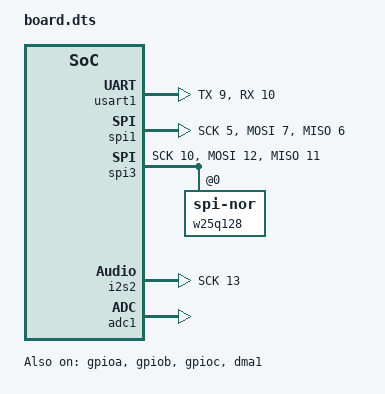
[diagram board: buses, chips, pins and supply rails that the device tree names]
/* STM32F411RE board — full device tree */

/ {
    clocks {
        hsi: hsi {
            compatible = "fixed-clock";
            clock-frequency = <16000000>;
        };
    };

    chosen {
        console = <&usart1>;
    };

    soc {
        rcc: rcc@40023800 {
            compatible = "st,stm32-rcc";
            reg = <0x40023800>;
        };

        gpioa: gpio@40020000 {
            compatible = "st,stm32-gpio";
            reg = <0x40020000>;
            clocks = <&rcc 0 0>;
            status = "okay";
        };

        gpiob: gpio@40020400 {
            compatible = "st,stm32-gpio";
            reg = <0x40020400>;
            clocks = <&rcc 0 1>;
            status = "okay";
        };

        gpioc: gpio@40020800 {
            compatible = "st,stm32-gpio";
            reg = <0x40020800>;
            clocks = <&rcc 0 2>;
            exti-irqs = <6 7 8 9 10 23 40>;
            status = "okay";
        };

        usart1: serial@40011000 {
            compatible = "st,stm32-usart";
            reg = <0x40011000>;
            clocks = <&rcc 2 4>;
            tx-pin = <9>;
            tx-af = <7>;
            tx-port = <&gpioa>;
            rx-pin = <10>;
            rx-af = <7>;
            rx-port = <&gpioa>;
            baudrate = <115200>;
            irq = <37>;
            status = "okay";
        };

        spi1: spi@40013000 {
            compatible = "st,stm32-spi";
            reg = <0x40013000>;
            clocks = <&rcc 2 12>;
            sck-port = <&gpioa>;
            sck-pin = <5>;
            sck-af = <5>;
            miso-port = <&gpioa>;
            miso-pin = <6>;
            miso-af = <5>;
            mosi-port = <&gpioa>;
            mosi-pin = <7>;
            mosi-af = <5>;
            cs-port = <&gpioa>;
            cs-pin = <4>;
            status = "okay";
        };

        spi3: spi@40003C00 {
            compatible = "st,stm32-spi";
            reg = <0x40003C00>;
            clocks = <&rcc 1 15>;
            sck-port = <&gpioc>;
            sck-pin = <10>;
            sck-af = <6>;
            miso-port = <&gpioc>;
            miso-pin = <11>;
            miso-af = <6>;
            mosi-port = <&gpioc>;
            mosi-pin = <12>;
            mosi-af = <6>;
            cs-port = <&gpiob>;
            cs-pin = <0>;
            status = "okay";

            w25q128: flash@0 {
                compatible = "jedec,spi-nor";
                size = <134217728>;
                page-size = <256>;
                sector-size = <4096>;
                status = "okay";
            };
        };

        i2s2: i2s@40003800 {
            compatible = "st,stm32-i2s";
            reg = <0x40003800>;
            clocks = <&rcc 1 14>;
            ws-port = <0x40020400>;
            ws-pin = <12>;
            sck-port = <0x40020400>;
            sck-pin = <13>;
            sd-port = <0x40020400>;
            sd-pin = <15>;
            af = <5>;
            status = "okay";
        };

        dma1: dma@40026000 {
            compatible = "st,stm32-dma";
            reg = <0x40026000>;
            clocks = <&rcc 0 21>;
            irqs = <11 12 13 14 15 16 17>;
            status = "okay";
        };

        adc1: adc@40012000 {
            compatible = "st,stm32-adc";
            reg = <0x40012000>;
            clocks = <&rcc 2 8>;
            channel = <0>;
            status = "okay";
        };

        ili9341: display@1 {
            compatible = "ilitek,ili9341";
            dc-port = <&gpiob>;
            dc-pin = <5>;
            status = "okay";
        };
    };
};
